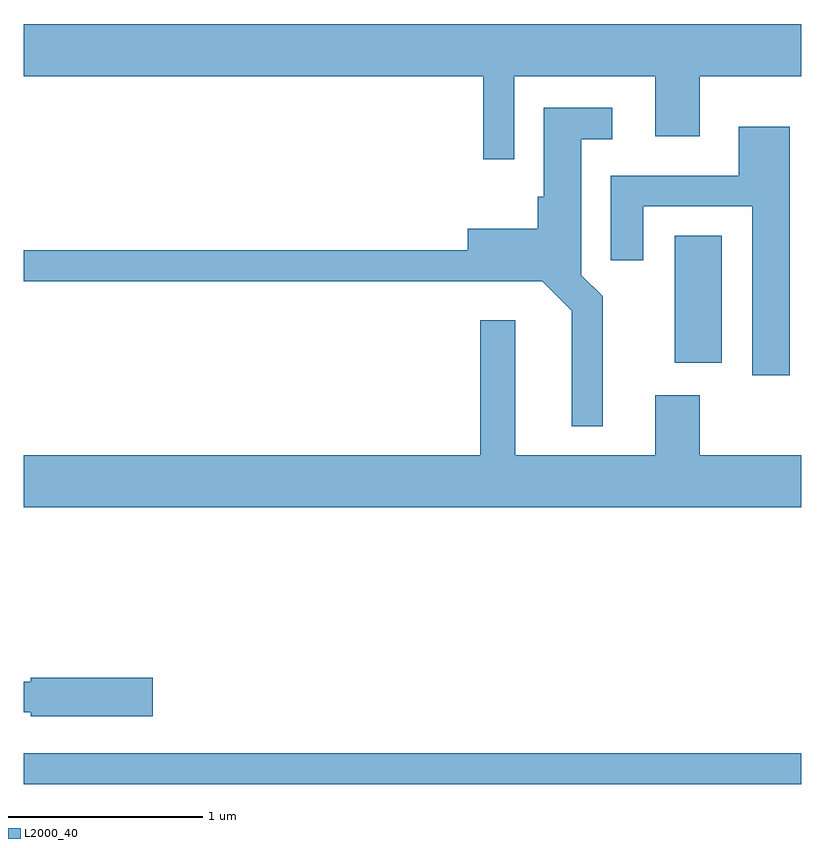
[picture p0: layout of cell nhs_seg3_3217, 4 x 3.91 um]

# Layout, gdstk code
import gdstk
lib = gdstk.Library(unit=1e-6, precision=1e-09)
def R(c, l, rs):  # rectangles x0, y0, x1, y1
    for r in rs: c.add(gdstk.rectangle(r[:2], r[2:], *l))
def P(c, l, *ps):  # polygons
    for p in ps: c.add(gdstk.Polygon(p, *l))
L2000_40 = (2000, 40)

nhs_seg3_3217 = lib.new_cell('nhs_seg3_3217')
R(nhs_seg3_3217, L2000_40, [(279.611,1157.892,283.611,1158.049), (282.961,1160.061,283.204,1160.714)])
P(nhs_seg3_3217, L2000_40, [(282.134,1161.536),(282.861,1161.536),(282.861,1161.226),(283.089,1161.226),(283.089,1161.536),(283.611,1161.536),(283.611,1161.804),(279.611,1161.804),(279.611,1161.536),(281.976,1161.536),(281.976,1161.108),(282.134,1161.108)],
  [(282.589,1160.402),(282.479,1160.512),(282.479,1161.211),(282.638,1161.211),(282.638,1161.374),(282.286,1161.374),(282.286,1160.914),(282.256,1160.914),(282.256,1160.749),(281.896,1160.749),(281.896,1160.639),(279.611,1160.639),(279.611,1160.481),(282.279,1160.481),(282.431,1160.329),(282.431,1159.733),(282.589,1159.733)],
  [(283.554,1161.274),(283.291,1161.274),(283.291,1161.024),(282.631,1161.024),(282.631,1160.588),(282.799,1160.588),(282.799,1160.866),(283.361,1160.866),(283.361,1159.996),(283.554,1159.996)],
  [(283.611,1159.584),(283.089,1159.584),(283.089,1159.894),(282.861,1159.894),(282.861,1159.584),(282.139,1159.584),(282.139,1160.279),(281.961,1160.279),(281.961,1159.584),(279.611,1159.584),(279.611,1159.316),(283.611,1159.316)],
  [(280.274,1158.439),(279.646,1158.439),(279.646,1158.419),(279.611,1158.419),(279.611,1158.261),(279.646,1158.261),(279.646,1158.241),(280.274,1158.241)])

lib.write_gds('nhs_seg3_3217.gds')
